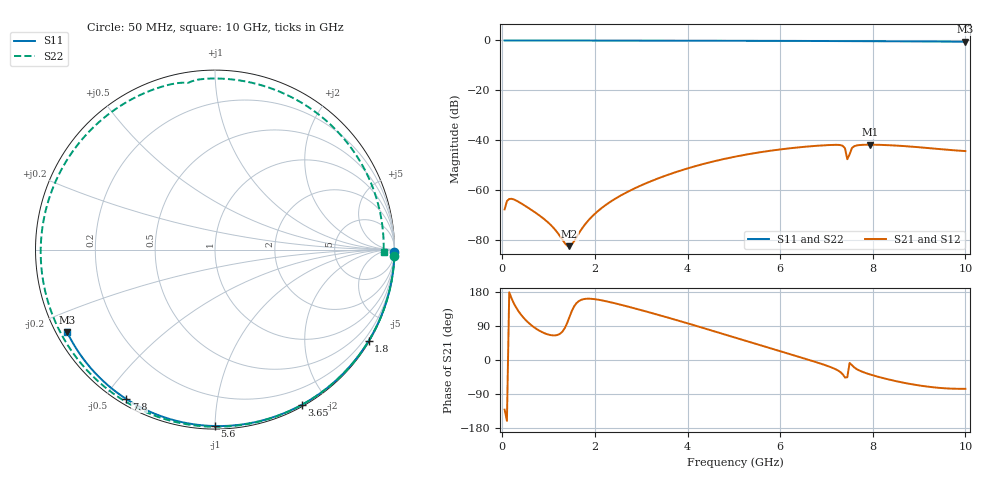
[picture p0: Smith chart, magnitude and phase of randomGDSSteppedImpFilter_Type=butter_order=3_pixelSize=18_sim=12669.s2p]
! freq	dB(S11)	phase(S11)	dB(S12)	phase(S12)
!  dB(S21)	phase(S21)	dB(S22)	phase(S22)
!S-par simulation data
#  GHz  S  DB  R 50
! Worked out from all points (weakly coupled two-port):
!   200 points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, 50 MHz to 10 GHz, reference 50 ohm
!   highest |S21| = -41.88 dB at 7.95 GHz (marker M1); lowest = -82.6 dB at 1.45 GHz (marker M2)
!   lowest |S11| = -0.5 dB at 10 GHz (marker M3), VSWR 34.44, Z = 1.55 - j13 ohm
!   |S11| at or under -10 dB: nowhere
!   |S22| runs from -0.5 to 0.0 dB; largest |S21 - S12| = 0
!   S11 on the Smith chart (normalised r, x): 50 MHz: open; 1.8 GHz: 0.03, -3.64; 3.65 GHz: 0.02, -1.71; 5.6 GHz: 0.02, -1.00; 7.8 GHz: 0.02, -0.57; 10 GHz: 0.03, -0.26
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0.05  -0.00 -0.9  -67.87 -130.8  -67.87 -130.8  -0.00 -1.9
0.15  -0.00 -2.6  -63.69 178.6  -63.69 178.6  -0.00 -5.7
0.3  -0.00 -5.2  -64.30 138.3  -64.30 138.3  -0.01 -11.4
0.95  -0.02 -16.4  -72.47 68.9  -72.47 68.9  -0.04 -35.7
1.3  -0.03 -22.3  -80.08 75.1  -80.08 75.1  -0.06 -48.5
1.45  -0.03 -24.8  -82.65 113.4  -82.65 113.4  -0.07 -53.9
1.75  -0.04 -29.9  -74.81 160.5  -74.81 160.5  -0.08 -64.6
1.8  -0.04 -30.7  -73.59 161.4  -73.59 161.4  -0.08 -66.4
2.4  -0.05 -40.6  -64.03 150.6  -64.03 150.6  -0.11 -87.2
3.4  -0.08 -56.7  -55.17 118.0  -55.17 118.0  -0.15 -120.6
3.65  -0.08 -60.7  -53.50 109.3  -53.50 109.3  -0.16 -128.7
5.05  -0.13 -81.9  -46.60 58.2  -46.60 58.2  -0.24 -174.4
5.6  -0.15 -90.0  -44.82 37.9  -44.82 37.9  -0.28 167.1
6.7  -0.20 -105.6  -42.45 -2.7  -42.45 -2.7  -0.36 127.9
7.35  -0.25 -114.6  -42.32 -37.5  -42.32 -37.5  -0.43 102.8
7.45  -0.27 -115.9  -47.72 -45.6  -47.72 -45.6  -0.53 99.3
7.55  -0.26 -117.2  -43.21 -13.5  -43.21 -13.5  -0.43 95.7
7.8  -0.28 -120.7  -41.92 -32.3  -41.92 -32.3  -0.42 85.5
7.95  -0.29 -122.7  -41.88 -38.5  -41.88 -38.5  -0.43 79.5
8.35  -0.33 -128.2  -42.08 -51.6  -42.08 -51.6  -0.44 63.4
9.2  -0.41 -139.7  -43.23 -70.5  -43.23 -70.5  -0.48 29.4
10  -0.50 -150.8  -44.44 -75.9  -44.44 -75.9  -0.54 -1.0
